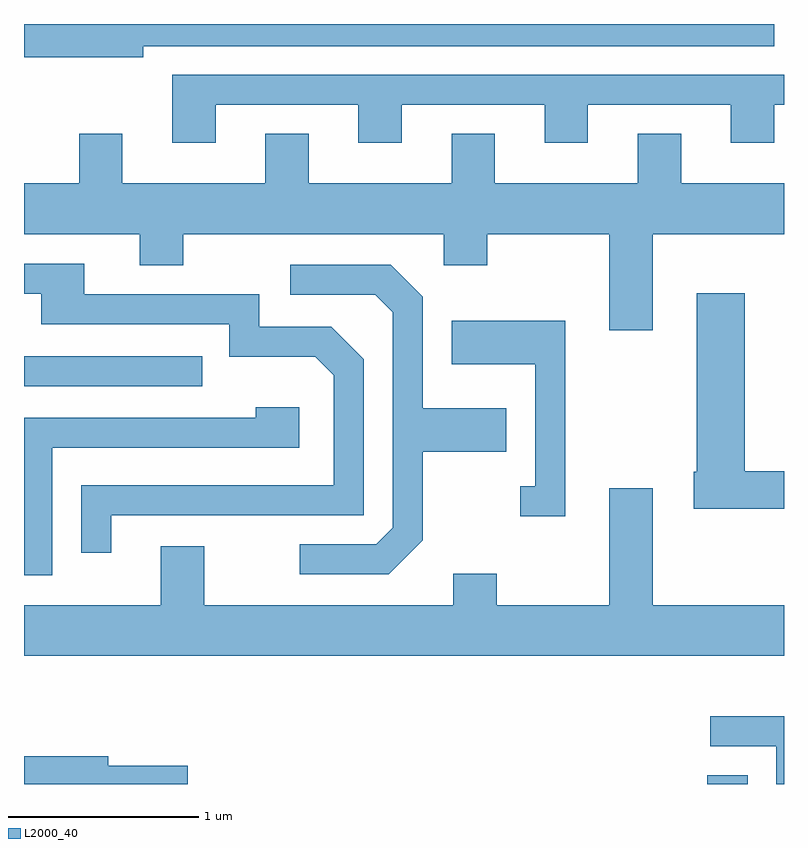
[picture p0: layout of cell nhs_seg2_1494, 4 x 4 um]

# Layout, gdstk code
import gdstk
lib = gdstk.Library(unit=1e-6, precision=1e-09)
def R(c, l, rs):  # rectangles x0, y0, x1, y1
    for r in rs: c.add(gdstk.rectangle(r[:2], r[2:], *l))
def P(c, l, *ps):  # polygons
    for p in ps: c.add(gdstk.Polygon(p, *l))
L2000_40 = (2000, 40)

nhs_seg2_1494 = lib.new_cell('nhs_seg2_1494')
R(nhs_seg2_1494, L2000_40, [(231.206,1109.802,231.419,1109.849), (227.611,1111.896,228.548,1112.054)])
P(nhs_seg2_1494, L2000_40, [(228.239,1113.686),(231.559,1113.686),(231.559,1113.802),(227.611,1113.802),(227.611,1113.626),(228.239,1113.626)],
  [(228.619,1113.376),(229.371,1113.376),(229.371,1113.176),(229.599,1113.176),(229.599,1113.376),(230.351,1113.376),(230.351,1113.176),(230.579,1113.176),(230.579,1113.376),(231.331,1113.376),(231.331,1113.176),(231.559,1113.176),(231.559,1113.376),(231.611,1113.376),(231.611,1113.534),(228.391,1113.534),(228.391,1113.176),(228.619,1113.176)],
  [(230.919,1112.696),(231.611,1112.696),(231.611,1112.964),(231.069,1112.964),(231.069,1113.224),(230.841,1113.224),(230.841,1112.964),(230.089,1112.964),(230.089,1113.224),(229.861,1113.224),(229.861,1112.964),(229.109,1112.964),(229.109,1113.224),(228.881,1113.224),(228.881,1112.964),(228.129,1112.964),(228.129,1113.224),(227.901,1113.224),(227.901,1112.964),(227.611,1112.964),(227.611,1112.696),(228.221,1112.696),(228.221,1112.531),(228.449,1112.531),(228.449,1112.696),(229.821,1112.696),(229.821,1112.531),(230.049,1112.531),(230.049,1112.696),(230.691,1112.696),(230.691,1112.191),(230.919,1112.191)],
  [(228.069,1111.216),(229.399,1111.216),(229.399,1112.037),(229.227,1112.209),(228.849,1112.209),(228.849,1112.379),(227.929,1112.379),(227.929,1112.539),(227.611,1112.539),(227.611,1112.381),(227.701,1112.381),(227.701,1112.221),(228.691,1112.221),(228.691,1112.051),(229.144,1112.051),(229.241,1111.954),(229.241,1111.374),(227.911,1111.374),(227.911,1111.018),(228.069,1111.018)],
  [(229.709,1111.084),(229.709,1111.551),(230.149,1111.551),(230.149,1111.779),(229.709,1111.779),(229.709,1112.367),(229.542,1112.534),(229.013,1112.534),(229.013,1112.376),(229.459,1112.376),(229.551,1112.284),(229.551,1111.152),(229.464,1111.064),(229.063,1111.064),(229.063,1110.906),(229.532,1110.906)],
  [(231.611,1111.449),(231.404,1111.449),(231.404,1112.384),(231.151,1112.384),(231.151,1111.445),(231.136,1111.445),(231.136,1111.251),(231.611,1111.251)],
  [(230.459,1112.239),(229.861,1112.239),(229.861,1112.011),(230.301,1112.011),(230.301,1111.369),(230.223,1111.369),(230.223,1111.211),(230.459,1111.211)],
  [(227.759,1111.571),(229.059,1111.571),(229.059,1111.784),(228.831,1111.784),(228.831,1111.729),(227.611,1111.729),(227.611,1110.901),(227.759,1110.901)],
  [(231.611,1110.744),(230.919,1110.744),(230.919,1111.359),(230.691,1111.359),(230.691,1110.744),(230.099,1110.744),(230.099,1110.909),(229.871,1110.909),(229.871,1110.744),(228.559,1110.744),(228.559,1111.054),(228.331,1111.054),(228.331,1110.744),(227.611,1110.744),(227.611,1110.476),(231.611,1110.476)],
  [(231.611,1110.159),(231.223,1110.159),(231.223,1110.001),(231.571,1110.001),(231.571,1109.802),(231.611,1109.802)],
  [(228.474,1109.899),(228.054,1109.899),(228.054,1109.949),(227.611,1109.949),(227.611,1109.802),(228.474,1109.802)])

lib.write_gds('nhs_seg2_1494.gds')
